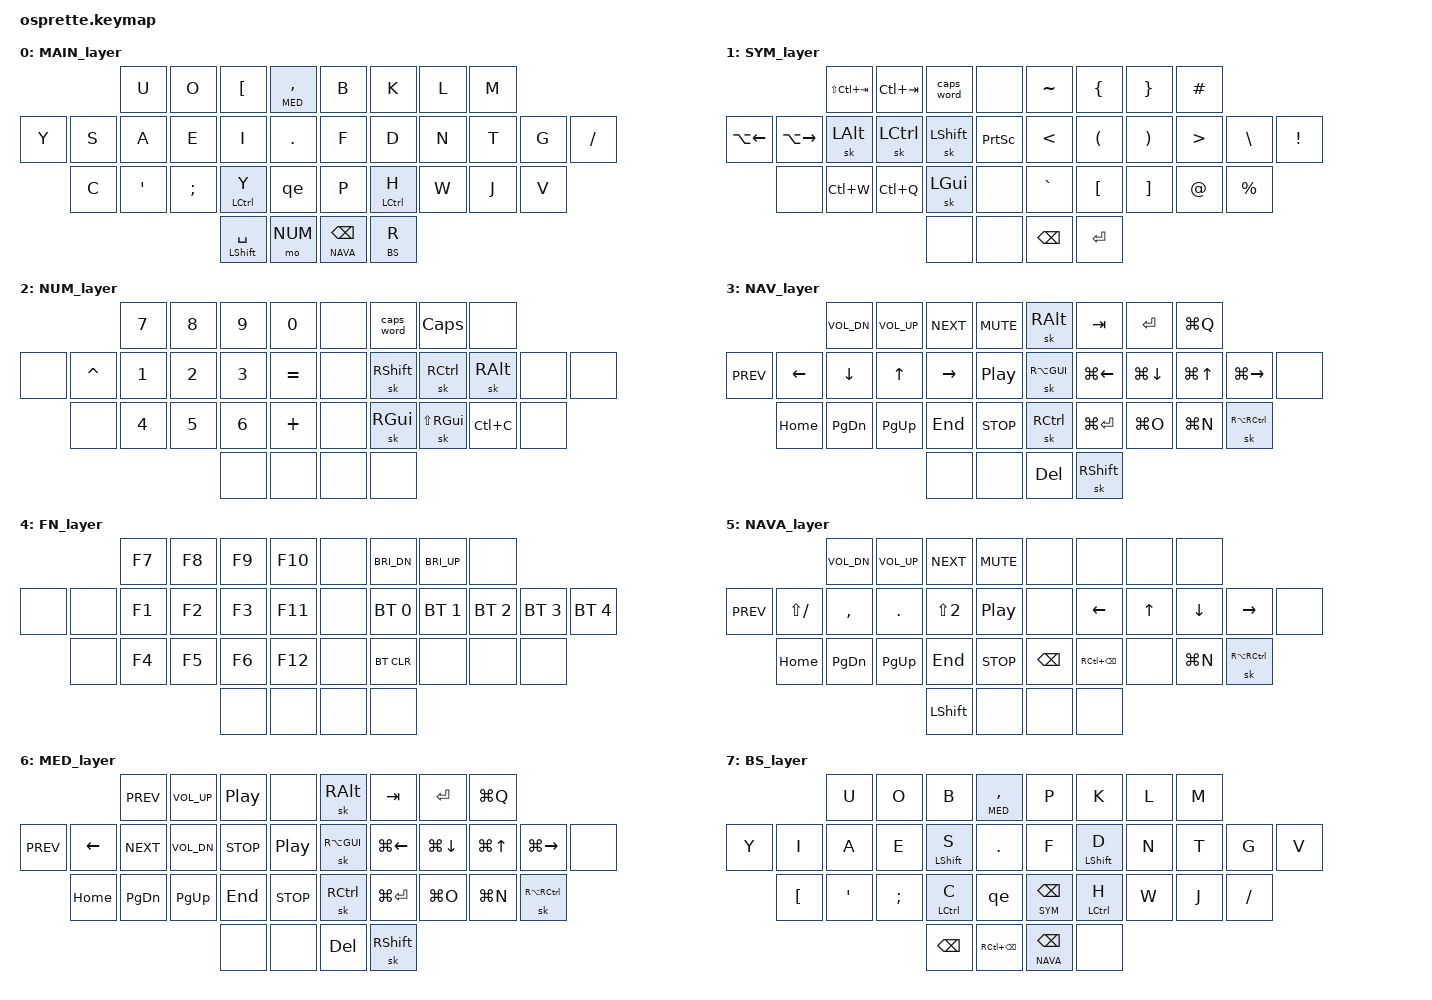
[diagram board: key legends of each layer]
#include <behaviors.dtsi>
#include <dt-bindings/zmk/keys.h>
#include <dt-bindings/zmk/bt.h>

#define MAIN 0
#define SYM 1
#define NUM 2
#define NAV 3
#define FN 4
#define NAVA 5
#define MED 6
#define BS 7

&lt {
    flavor = "tap-preferred";
    tapping_term_ms = <250>;
};

/ {
    behaviors {
        qe: comma_pipe {
            compatible = "zmk,behavior-mod-morph";
            label = "COMMA_PIPE";
            #binding-cells = <0>;
            bindings = <&kp LS(MINUS)>, <&kp N1>;
            mods = <(MOD_LSFT|MOD_RSFT)>;
        };
        
         hm: homerow_mods {
            compatible = "zmk,behavior-hold-tap";
            label = "homerow mods";
            #binding-cells = <2>;
            tapping_term_ms = <250>;
            flavor = "balanced";
            bindings = <&kp>, <&kp>;
        };
           hmc: homerow_modsc {
            compatible = "zmk,behavior-hold-tap";
            label = "homerow modsc";
            #binding-cells = <2>;
            tapping_term_ms = <250>;
            flavor = "tap-preferred";
            bindings = <&kp>, <&kp>;
        };
    };

    combos {
        compatible = "zmk,combos";

        combo_aa {
            timeout-ms = <30>;
            key-positions = <10 11>;
            bindings = <&kp LBKT>;
            layers = <3>;
        };

        combo_cit {
            timeout-ms = <30>;
            key-positions = <5 15>;
            bindings = <&kp LS(N2)>;
            layers = <0>;
        };

        combo_esc {
            timeout-ms = <30>;
            key-positions = <3 13>;
            bindings = <&kp EQUAL>;
            layers = <0>;
        };

        combo_tab {
            timeout-ms = <30>;
            key-positions = <6 16>;
            bindings = <&kp TAB>;
            layers = <0>;
        };
    
           combo_enter {
            timeout-ms = <30>;
            key-positions = <7 17>;
            bindings = <&kp ENTER>;
            layers = <0>; 
            
         };
 
            combo_minus{
            timeout-ms = <30>;
            key-positions = <1 11>;
            bindings = <&kp BSPC>;
            layers = <0>; 
         };        
          combo_w {
            timeout-ms = <30>;
            key-positions = <10 21>;
            bindings = <&kp LGUI>;
            layers = <0>;
        };

        combo_la {
            timeout-ms = <30>;
            key-positions = <11 22>;
            bindings = <&kp LALT>;
            layers = <0>;
        };

        combo_lc {
            timeout-ms = <30>;
            key-positions = <0 1>;
            bindings = <&kp SQT>;
            layers = <3>;
        };
    
           combo_rc {
            timeout-ms = <30>;
            key-positions = <15 26>;
            bindings = <&kp RCTRL>;
            layers = <3>; 
        };

        combo_rs {
            timeout-ms = <30>;
            key-positions = <16 27>;
            bindings = <&kp LALT>;
            layers = <0>;            
 
         };        
           combo_rw {
            timeout-ms = <30>;
            key-positions = <17 28>;
            bindings = <&kp RGUI>;
            layers = <0>; 
         }; 
         
           combo_x {
            timeout-ms = <30>;
            key-positions = <2 3>;
            bindings = <&kp X>;
            layers = <0>;
        };
    
           combo_z {
            timeout-ms = <30>;
            key-positions = <4 5>;
            bindings = <&kp Z>;
            layers = <0>; 
            
         };
         
           combo_q {
            timeout-ms = <30>;
            key-positions = <4 14>;
            bindings = <&kp Q>;
            layers = <0>; 
            
         };
           combo_bspcv {
            timeout-ms = <30>;
            key-positions = <16 17>;
            bindings = <&kp BSPC>;
            layers = <0>; 
         }; 
           combo_bspcvt {
            timeout-ms = <30>;
            key-positions = <5 6>;
            bindings = <&kp RC(BSPC)>;
            layers = <3>; 
         };        
    };

    keymap {
        compatible = "zmk,keymap";

        MAIN_layer {
            bindings = <
                      &kp U &kp O &kp LBKT        &lt MED COMMA        &kp B    &kp K &kp L &kp M
          &kp Y &kp S &kp A &kp E &kp I  &kp DOT            &kp F    &kp D    &kp N        &kp T      &kp G &kp SLASH
                &kp C &kp SQT &kp SEMI &hmc LCTRL Y  &qe      &kp P &hmc LCTRL H    &kp W        &kp J      &kp V
                                  &hmc LSHIFT SPC  &mo NUM     &lt NAVA BSPC     &lt BS R
            >;
        };

        SYM_layer {
            bindings = <
                              &kp LS(LC(TAB)) &kp LC(TAB) &caps_word &none          &kp TILDE &kp LBRC  &kp RBRC &kp HASH
   &kp LA(LEFT) &kp LA(RIGHT) &sk LALT        &sk LCTRL   &sk LSHFT &kp PSCRN      &kp LT    &kp LPAR  &kp RPAR &kp GT   &kp BSLH  &kp EXCL
                &none         &kp LC(W)       &kp LC(Q)   &sk LGUI   &none          &kp GRAVE &kp LBKT  &kp RBKT &kp AT   &kp PRCNT
                                                          &none      &none          &kp BSPC  &kp ENTER
            >;
        };

        NUM_layer {
            bindings = <
                         &kp N7 &kp N8 &kp N9  &kp N0       &none &caps_word &kp CAPS     &none
         &none &kp CARET &kp N1 &kp N2 &kp N3  &kp EQUAL      &none &sk RSHFT &sk RCTRL    &sk RALT  &none &none
               &none     &kp N4 &kp N5 &kp N6  &kp PLUS       &none &sk RGUI   &sk LS(RGUI) &kp LC(C) &none
                                       &none &none         &none &none
            >;
        };

        NAV_layer {
            bindings = <
                         &kp C_VOL_DN &kp C_VOL_UP &kp C_NEXT &kp C_MUTE      &sk RALT    &kp TAB     &kp ENTER &kp LG(Q)
     &kp C_PREV &kp LEFT &kp DOWN     &kp UP       &kp RIGHT  &kp C_PP        &sk RA(GUI) &kp LG(LEFT)  &kp LG(DOWN)  &kp LG(UP) &kp LG(RIGHT) &none
                &kp HOME &kp PG_DN    &kp PG_UP    &kp END    &kp C_STOP      &sk RCTRL   &kp LG(ENTER) &kp LG(O)     &kp LG(N)  &sk RA(RCTRL)
                                                   &none      &none           &kp DEL     &sk RSHFT
            >;
        };

        FN_layer {
            bindings = <
                      &kp F7 &kp F8 &kp F9 &kp F10      &none &kp C_BRI_DN &kp C_BRI_UP &none
          &none &none &kp F1 &kp F2 &kp F3 &kp F11      &none &bt BT_SEL 0 &bt BT_SEL 1 &bt BT_SEL 2 &bt BT_SEL 3 &bt BT_SEL 4
                &none &kp F4 &kp F5 &kp F6 &kp F12      &none &bt BT_CLR   &none        &none        &none
                                    &none  &none        &none &none
            >;
        };
        
        NAVA_layer {
            bindings = <
                         &kp C_VOL_DN &kp C_VOL_UP &kp C_NEXT &kp C_MUTE      &none    &none     &none &none
     &kp C_PREV &kp LS(SLASH) &kp COMMA     &kp DOT  &kp LS(N2)  &kp C_PP        &none &kp LEFT  &kp UP  &kp DOWN &kp RIGHT &none
                &kp HOME &kp PG_DN    &kp PG_UP    &kp END    &kp C_STOP      &kp BSPC   &kp RC(BSPC) &none     &kp LG(N)  &sk RA(RCTRL)
                                                   &kp LSHFT      &none           &none     &none
            >;
        }; 
        
        MED_layer {
            bindings = <
                         &kp C_PREV &kp C_VOL_UP &kp C_PP &none      &sk RALT    &kp TAB     &kp ENTER &kp LG(Q)
     &kp C_PREV &kp LEFT &kp C_NEXT &kp C_VOL_DN &kp C_STOP  &kp C_PP        &sk RA(GUI) &kp LG(LEFT)  &kp LG(DOWN)  &kp LG(UP) &kp LG(RIGHT) &none
                &kp HOME &kp PG_DN    &kp PG_UP    &kp END    &kp C_STOP      &sk RCTRL   &kp LG(ENTER) &kp LG(O)     &kp LG(N)  &sk RA(RCTRL)
                                                   &none      &none           &kp DEL     &sk RSHFT
            >;
        };
        
        
                BS_layer {
            bindings = <
                      &kp U &kp O &kp B        &lt MED COMMA        &kp P    &kp K &kp L &kp M
          &kp Y &kp I &kp A &kp E &hm LSHIFT  S  &kp DOT            &kp F    &hm LSHIFT  D    &kp N        &kp T      &kp G &kp V
                &kp LBKT &kp SQT &kp SEMI &hmc LCTRL C  &qe      &lt SYM BSPC   &hmc LCTRL H    &kp W        &kp J      &kp SLASH
                                  &kp BSPC &kp RC(BSPC)      &lt NAVA BSPC    &none
            >;
        };                                  
                                  
    };
};
